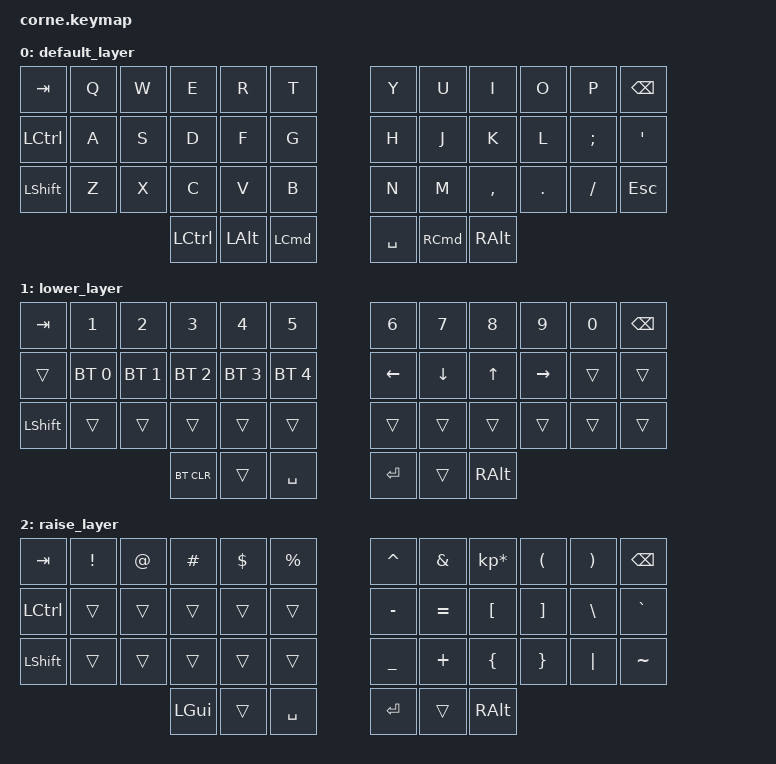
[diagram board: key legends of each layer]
/*
 * Copyright (c) 2020 The ZMK Contributors
 *
 * SPDX-License-Identifier: MIT
 */

#include <behaviors.dtsi>
#include <dt-bindings/zmk/keys.h>
#include <dt-bindings/zmk/bt.h>

/ {
        combos {
                compatible = "zmk,combos";

                bluetooth_maintenance {
                        timeout-ms = <75>;
                        require-prior-idle-ms = <1000>;
                        key-positions = <1 5 25 29>;
                        bindings = <&mo 1>;
                        layers = <0>;
                        slow-release;
                };
        };

        keymap {
                compatible = "zmk,keymap";

                default_layer {
// -----------------------------------------------------------------------------------------
// |  TAB |  Q  |  W  |  E  |  R  |  T  |   |  Y  |  U   |  I  |  O  |  P  | BKSP |
// | CTRL |  A  |  S  |  D  |  F  |  G  |   |  H  |  J   |  K  |  L  |  ;  |  '   |
// | SHFT |  Z  |  X  |  C  |  V  |  B  |   |  N  |  M   |  ,  |  .  |  /  | ESC  |
//                    | GUI | LWR | SPC |   | ENT | RSE  | ALT |
                        bindings = <
   &kp TAB   &kp Q &kp W &kp E &kp R &kp T   &kp Y &kp U  &kp I     &kp O   &kp P    &kp BSPC
   &kp LCTRL &kp A &kp S &kp D &kp F &kp G   &kp H &kp J  &kp K     &kp L   &kp SEMI &kp SQT
   &kp LSHFT &kp Z &kp X &kp C &kp V &kp B   &kp N &kp M  &kp COMMA &kp DOT &kp FSLH &kp ESC
   &kp LEFT_CONTROL &kp LEFT_ALT &kp LEFT_COMMAND &kp SPACE &kp RIGHT_COMMAND &kp RIGHT_ALT
                        >;
                };
                lower_layer {
// -----------------------------------------------------------------------------------------
// |  TAB |  1  |  2  |  3  |  4  |  5  |   |  6  |  7  |  8  |  9  |  0  | BKSP |
// |      | BT1 | BT2 | BT3 | BT4 | BT5 |   | LFT | DWN |  UP | RGT |     |      |
// | SHFT |     |     |     |     |     |   |     |     |     |     |     |      |
//                    | CLR |     | SPC |   | ENT |     | ALT |
                        bindings = <
   &kp TAB    &kp N1       &kp N2       &kp N3       &kp N4       &kp N5         &kp N6   &kp N7   &kp N8 &kp N9    &kp N0 &kp BSPC
   &trans      &bt BT_SEL 0 &bt BT_SEL 1 &bt BT_SEL 2 &bt BT_SEL 3 &bt BT_SEL 4   &kp LEFT &kp DOWN &kp UP &kp RIGHT &trans &trans
   &kp LSHFT  &trans       &trans       &trans       &trans       &trans         &trans   &trans   &trans &trans    &trans &trans
                                    &bt BT_CLR   &trans       &kp SPACE      &kp RET  &trans   &kp RALT
                        >;
                };

                raise_layer {
// -----------------------------------------------------------------------------------------
// |  TAB |  !  |  @  |  #  |  $  |  %  |   |  ^  |  &  |  *  |  (  |  )  | BKSP |
// | CTRL |     |     |     |     |     |   |  -  |  =  |  [  |  ]  |  \  |  `   |
// | SHFT |     |     |     |     |     |   |  _  |  +  |  {  |  }  | "|" |  ~   |
//                    | GUI |     | SPC |   | ENT |     | ALT |
                        bindings = <
   &kp  TAB  &kp EXCL &kp AT &kp HASH &kp DLLR &kp PRCNT   &kp CARET &kp AMPS  &kp KP_MULTIPLY &kp LPAR &kp RPAR &kp BSPC
   &kp LCTRL &trans   &trans &trans   &trans   &trans      &kp MINUS &kp EQUAL &kp LBKT        &kp RBKT &kp BSLH &kp GRAVE
   &kp LSHFT &trans   &trans &trans   &trans   &trans      &kp UNDER &kp PLUS  &kp LBRC        &kp RBRC &kp PIPE &kp TILDE
                             &kp LGUI &trans   &kp SPACE   &kp RET   &trans    &kp RALT
                        >;
                };
        };
};
